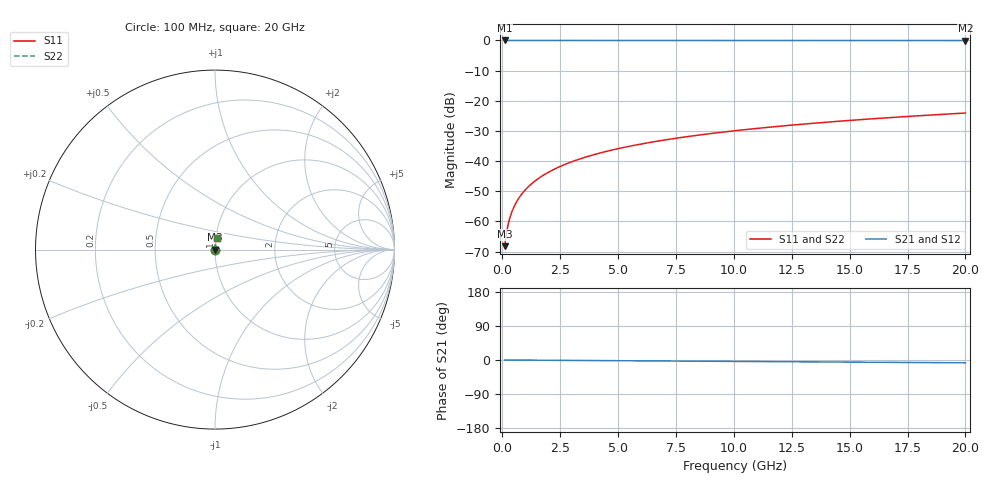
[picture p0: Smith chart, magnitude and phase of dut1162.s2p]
! Touchstone file exported from HFSS 2026.1.0
!  File:  C:/ffzhzh/LocalFiles/Ansys_Project_Files/temp_train_TSV_1162_1783191819_18472.aedt
!  Generated:  03:05:05 AM Jul  5, 2026
!  Design:  TSV
!  Project:  temp_train_TSV_1162_1783191819_18472
! Variables:
!  h_bsmrdl = 2um
!  h_ox = 20um
!  h_rdl = 5um
!  h_sub = 57.17um
!  h_tmrdl = 5um
!  h_tsv = 57.17um
!  h_via = 3um
!  l_bsmrdl = 300um
!  l_sub = 413.74um
!  l_tmrdl = 200um
!  m_sub = 200um
!  pitch = 55.94um
!  r_tsv = 6.87um
!  s_tmrdl = 10um
!  w_bsmrdl = 18um
!  w_sub = 500um
!  w_tmrdl = 12um
!  x_tsv_center1 = 206um
!  x_tsv_center2 = 524um
!  x_tsv_center3 = 736um
!  x_tsv_center4 = 1054um
!  x_tsv_center5 = 1266um
!  x_tsv_center6 = 1584um
# GHz S MA R 50.000000
! Terminal data exported
! Port[1] = TSV1_1_T1
! Port[2] = TSV1_1_T2
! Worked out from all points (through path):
!   200 points, 100 MHz to 20 GHz, reference 50 ohm
!   highest |S21| = 0.00 dB at 100 MHz (marker M1); lowest = 0.0 dB at 20 GHz (marker M2)
!   group delay of S21, straight-line fit = 1.03 ps
!   lowest |S11| = -68.2 dB at 100 MHz (marker M3), VSWR 1.00, Z = 50 + j0.0348 ohm
!   |S11| at or under -10 dB: start of sweep to end of sweep
!   |S22| runs from -68.2 to -24.1 dB; largest |S21 - S12| = 1.2e-15
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0.1  0.0003883 63.5  0.9998 -0.0  0.9998 -0.0  0.0003883 63.5
! Gamma 0 0 0 0
! Port Impedance 50 0 50 0
0.2  0.0007166 75.3  0.9998 -0.1  0.9998 -0.1  0.0007166 75.3
0.3  0.001054 79.3  0.9998 -0.1  0.9998 -0.1  0.001054 79.3
0.4  0.00139 81.2  0.9998 -0.2  0.9998 -0.2  0.00139 81.2
0.5  0.001724 82.3  0.9998 -0.2  0.9998 -0.2  0.001724 82.3
0.6  0.002055 83.0  0.9998 -0.2  0.9998 -0.2  0.002055 83.0
0.7  0.002383 83.5  0.9997 -0.3  0.9997 -0.3  0.002383 83.5
0.8  0.002709 83.9  0.9997 -0.3  0.9997 -0.3  0.002709 83.9
1  0.003355 84.4  0.9997 -0.4  0.9997 -0.4  0.003355 84.4
1.4  0.004637 85.2  0.9996 -0.5  0.9996 -0.5  0.004637 85.2
1.7  0.005596 85.5  0.9996 -0.6  0.9996 -0.6  0.005596 85.5
2  0.006553 85.7  0.9996 -0.8  0.9996 -0.8  0.006553 85.7
2.7  0.008782 86.0  0.9995 -1.0  0.9995 -1.0  0.008782 86.0
3.5  0.01132 86.1  0.9994 -1.3  0.9994 -1.3  0.01132 86.1
4.2  0.01354 86.0  0.9993 -1.6  0.9993 -1.6  0.01354 86.0
5  0.01606 85.9  0.9993 -1.9  0.9993 -1.9  0.01606 85.9
6.8  0.02171 85.5  0.999 -2.6  0.999 -2.6  0.02171 85.5
8.3  0.0264 85.2  0.9989 -3.1  0.9989 -3.1  0.0264 85.2
10.1  0.03201 84.6  0.9986 -3.8  0.9986 -3.8  0.03201 84.6
13.4  0.04226 83.6  0.9981 -5.0  0.9981 -5.0  0.04226 83.6
16.7  0.05246 82.6  0.9975 -6.2  0.9975 -6.2  0.05246 82.6
20  0.0626 81.4  0.9968 -7.4  0.9968 -7.4  0.0626 81.4
